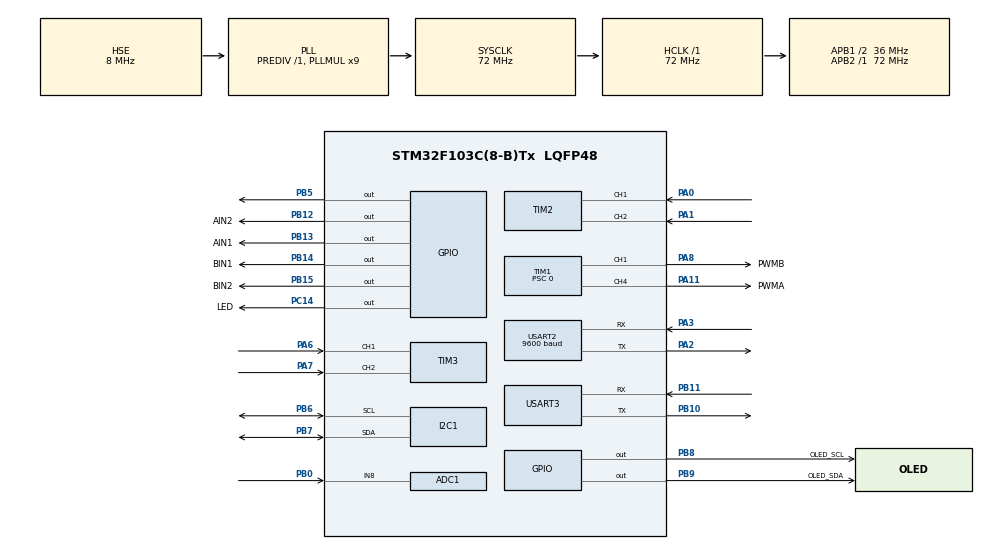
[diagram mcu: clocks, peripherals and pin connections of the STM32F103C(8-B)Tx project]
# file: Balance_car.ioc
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ADC1.Channel-0\#ChannelRegularConversion=ADC_CHANNEL_8
ADC1.NbrOfConversionFlag=1
ADC1.Rank-0\#ChannelRegularConversion=1
ADC1.SamplingTime-0\#ChannelRegularConversion=ADC_SAMPLETIME_1CYCLE_5
ADC1.master=1
I2C1.I2C_Mode=I2C_Fast
Mcu.Family=STM32F1
Mcu.Name=STM32F103C(8-B)Tx
Mcu.Package=LQFP48
NVIC.PriorityGroup=NVIC_PRIORITYGROUP_4
NVIC.TIM2_IRQn=true\:2\:0\:true\:false\:true\:true\:true\:true
NVIC.TIM3_IRQn=true\:2\:0\:true\:false\:true\:true\:true\:true
NVIC.TIM4_IRQn=true\:1\:0\:true\:false\:true\:true\:true\:true
NVIC.USART2_IRQn=true\:0\:0\:false\:false\:true\:true\:true\:true
NVIC.USART3_IRQn=true\:2\:0\:true\:false\:true\:true\:true\:true
PA0-WKUP.GPIO_PuPd=GPIO_PULLUP
PA0-WKUP.Signal=S_TIM2_CH1_ETR
PA1.GPIO_PuPd=GPIO_PULLUP
PA1.Signal=S_TIM2_CH2
PA11.GPIO_Label=PWMA
PA11.Signal=S_TIM1_CH4
PA13.Mode=Serial_Wire
PA13.Signal=SYS_JTMS-SWDIO
PA14.Mode=Serial_Wire
PA14.Signal=SYS_JTCK-SWCLK
PA2.Mode=Asynchronous
PA2.Signal=USART2_TX
PA3.Mode=Asynchronous
PA3.Signal=USART2_RX
PA6.GPIO_PuPd=GPIO_PULLUP
PA6.Signal=S_TIM3_CH1
PA7.GPIO_PuPd=GPIO_PULLUP
PA7.Signal=S_TIM3_CH2
PA8.GPIO_Label=PWMB
PA8.Signal=S_TIM1_CH1
PB0.Signal=ADCx_IN8
PB10.Mode=Asynchronous
PB10.Signal=USART3_TX
PB11.Mode=Asynchronous
PB11.Signal=USART3_RX
PB12.GPIO_Label=AIN2
PB12.GPIO_Speed=GPIO_SPEED_FREQ_MEDIUM
PB12.Signal=GPIO_Output
PB13.GPIO_Label=AIN1
PB13.GPIO_Speed=GPIO_SPEED_FREQ_MEDIUM
PB13.Signal=GPIO_Output
PB14.GPIO_Label=BIN1
PB14.GPIO_Speed=GPIO_SPEED_FREQ_MEDIUM
PB14.Signal=GPIO_Output
PB15.GPIO_Label=BIN2
PB15.GPIO_Speed=GPIO_SPEED_FREQ_MEDIUM
PB15.Signal=GPIO_Output
PB5.GPIO_PuPd=GPIO_PULLDOWN
PB5.Signal=GPIO_Output
PB6.Mode=I2C
PB6.Signal=I2C1_SCL
PB7.Mode=I2C
PB7.Signal=I2C1_SDA
PB8.GPIO_Label=OLED_SCL
PB8.GPIO_Speed=GPIO_SPEED_FREQ_HIGH
PB8.Signal=GPIO_Output
PB9.GPIO_Label=OLED_SDA
PB9.GPIO_Speed=GPIO_SPEED_FREQ_HIGH
PB9.Signal=GPIO_Output
PC14-OSC32_IN.GPIO_Label=LED
PC14-OSC32_IN.GPIO_ModeDefaultOutputPP=GPIO_MODE_OUTPUT_PP
PC14-OSC32_IN.GPIO_PuPd=GPIO_PULLUP
PC14-OSC32_IN.PinState=GPIO_PIN_SET
PC14-OSC32_IN.Signal=GPIO_Output
PD0-OSC_IN.Mode=HSE-External-Oscillator
PD0-OSC_IN.Signal=RCC_OSC_IN
PD1-OSC_OUT.Mode=HSE-External-Oscillator
PD1-OSC_OUT.Signal=RCC_OSC_OUT
ProjectManager.HeapSize=0x200
ProjectManager.StackSize=0x400
ProjectManager.TargetToolchain=MDK-ARM V5.32
RCC.ADCPresc=RCC_ADCPCLK2_DIV6
RCC.AHBFreq_Value=72000000
RCC.APB1CLKDivider=RCC_HCLK_DIV2
RCC.APB1Freq_Value=36000000
RCC.APB1TimFreq_Value=72000000
RCC.APB2Freq_Value=72000000
RCC.APB2TimFreq_Value=72000000
RCC.HCLKFreq_Value=72000000
RCC.PLLMUL=RCC_PLL_MUL9
RCC.PLLSourceVirtual=RCC_PLLSOURCE_HSE
RCC.SYSCLKFreq_VALUE=72000000
RCC.SYSCLKSource=RCC_SYSCLKSOURCE_PLLCLK
RCC.USBFreq_Value=72000000
SH.ADCx_IN8.0=ADC1_IN8,IN8
SH.S_TIM1_CH1.0=TIM1_CH1,PWM Generation1 CH1
SH.S_TIM1_CH4.0=TIM1_CH4,PWM Generation4 CH4
SH.S_TIM2_CH1_ETR.0=TIM2_CH1,Encoder_Interface
SH.S_TIM2_CH2.0=TIM2_CH2,Encoder_Interface
SH.S_TIM3_CH1.0=TIM3_CH1,Encoder_Interface
SH.S_TIM3_CH2.0=TIM3_CH2,Encoder_Interface
TIM1.AutoReloadPreload=TIM_AUTORELOAD_PRELOAD_ENABLE
TIM1.Channel-PWM\ Generation1\ CH1=TIM_CHANNEL_1
TIM1.Channel-PWM\ Generation4\ CH4=TIM_CHANNEL_4
TIM1.Period=7200-1
TIM1.Prescaler=0
TIM2.AutoReloadPreload=TIM_AUTORELOAD_PRELOAD_ENABLE
TIM2.EncoderMode=TIM_ENCODERMODE_TI12
TIM2.IC1Filter=10
TIM2.IC2Filter=10
TIM3.AutoReloadPreload=TIM_AUTORELOAD_PRELOAD_ENABLE
TIM3.EncoderMode=TIM_ENCODERMODE_TI12
TIM3.IC1Filter=10
TIM3.IC2Filter=10
TIM4.AutoReloadPreload=TIM_AUTORELOAD_PRELOAD_ENABLE
TIM4.Period=1000-1
TIM4.Prescaler=72-1
USART2.BaudRate=9600
USART2.VirtualMode=VM_ASYNC
USART3.VirtualMode=VM_ASYNC
VP_TIM1_VS_ClockSourceINT.Mode=Internal
VP_TIM4_VS_ClockSourceINT.Mode=Internal
board=custom

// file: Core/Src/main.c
/* USER CODE BEGIN Header */
/**
  ******************************************************************************
  * @file           : main.c
  * @brief          : Main program body
  ******************************************************************************
  * @attention
  *
  * Copyright (c) 2023 STMicroelectronics.
  * All rights reserved.
  *
  * This software is licensed under terms that can be found in the LICENSE file
  * in the root directory of this software component.
  * If no LICENSE file comes with this software, it is provided AS-IS.
  *
  ******************************************************************************
  */
/* USER CODE END Header */
#include "main.h"
#include "adc.h"
#include "i2c.h"
#include "tim.h"
#include "usart.h"
#include "gpio.h"

/* USER CODE BEGIN Includes */
#include <stdio.h>
#include <string.h>

#include "oled.h"
#include "badc.h"

#include "mpu6050.h"
#include "inv_mpu.h"

#include "motor.h"
#include "control.h"
/* USER CODE END Includes */

/* USER CODE BEGIN PM */
char oled_text[16];
/* USER CODE END PM */

/* USER CODE BEGIN PV */
double volt=0.0f;

float pitch,roll,yaw; 								  			 //欧拉角(姿态角)
short aacx,aacy,aacz;													 //加速度传感器原始数据
short gyrox,gyroy,gyroz;											 //陀螺仪原始数据

uint8_t usart3_pData;
uint8_t usart2_pData;
unsigned char buletooth_data[20];

int remote_data=0;

/* USER CODE END PV */

void SystemClock_Config(void);
/* USER CODE BEGIN PFP */
//定义 串口调试
float tempFloat[3];                    //定义的临时变量
uint8_t tempData[16];                    //定义的传输Buffer
/* USER CODE END PFP */

/* USER CODE BEGIN 0 */
int fputc(int ch, FILE *f)
{ //printf重定向
  HAL_UART_Transmit(&huart3, (uint8_t *)&ch, 1, 0xFFFF);
  return (ch);
}

void oled_show(){
	sprintf(oled_text,"   Balance_car"   );
	OLED_ShowString(0,0,(unsigned char *)oled_text,12);

	//OLED_ShowString(0,0,(unsigned char *)"ANGLE:",12);
	OLED_ShowString(0,1,(unsigned char *)"BAT :",12);
	OLED_ShowString(90,1,(unsigned char *)"V",12);
	//OLED_ShowString(0,2,(unsigned char *)"Distance:",12);
	OLED_ShowString(60,2,(unsigned char *)"R: ",12);
	OLED_ShowString(1,2,(unsigned char *)"L: ",12);

	OLED_ShowString(0,4,(unsigned char *)"YAW:",12);
	OLED_ShowString(0,5,(unsigned char *)"PTICH:",12);

	OLED_ShowString(0,6,(unsigned char *)"remote: ",12);
}

void oled_proc(){
	OLED_Float(1,48,volt,1);						//显示电压

	OLED_ShowNum(80,2,Encoder_Right,3,12);					//显示右边电机的编码器值
	OLED_ShowNum(20,2,Encoder_Left,3,12);					//显示左边电机的编码器值

	OLED_Float(4,56,yaw,1);	//显示yaw

	OLED_Float(5,56,pitch,1);	//显示pitch

	OLED_ShowNum(60,6,remote_data,3,12);					//显示左边电机的编码器值

}
void vofa_send(){
	tempFloat[0] = (float)yaw;    //转成浮点数
	tempFloat[1] = (float)pitch;
	tempFloat[2] = (float)roll;
	memcpy(tempData, (uint8_t *)tempFloat, sizeof(tempFloat));//通过拷贝把数据重新整理
	tempData[12] = 0x00;                    //写如结尾数据
	tempData[13] = 0x00;
	tempData[14] = 0x80;
	tempData[15] = 0x7f;

	HAL_UART_Transmit_IT(&huart3, (uint8_t *)tempData, 16);    //通过串口传输16个数据
}
/* USER CODE END 0 */

int main(void)
{

  /* MCU Configuration--------------------------------------------------------*/

  /* Reset of all peripherals, Initializes the Flash interface and the Systick. */
  HAL_Init();

  /* Configure the system clock */
  SystemClock_Config();

  /* Initialize all configured peripherals */
  MX_GPIO_Init();
  MX_I2C1_Init();
  MX_ADC1_Init();
  MX_USART3_UART_Init();
  MX_TIM2_Init();
  MX_TIM3_Init();
  MX_TIM1_Init();
  MX_TIM4_Init();
  MX_USART2_UART_Init();
  /* USER CODE BEGIN 2 */
	//初始化串口
	HAL_UART_Receive_IT(&huart2, &usart2_pData, 1);
	HAL_UART_Receive_IT(&huart3, &usart3_pData, 1);
	//初始化oled
	SSD1315_Init();
	HAL_Delay(100);
	OLED_Clear();
	oled_show();
	//初始化mpu
	printf("mpu6050 init\r\n");
	uint8_t recv = 0x00;
  HAL_I2C_Mem_Read(&hi2c1, (0x68 << 1), 0x75, I2C_MEMADD_SIZE_8BIT, &recv, 1, 0xfff);
  if (recv == 0x68)
    printf("mpu6050 ID Read: OK at 0x68\r\n");
  else
    printf("Err mpu id:0x%x\r\n", recv);
	while (mpu_dmp_init())
    HAL_Delay(200);
	//初始化编码器
	Encoder_Start();
	//初始化电机
	Motor_Start();
	//初始化定时器
	HAL_TIM_Base_Start_IT(&htim4);
	//初始化控制器

  /* USER CODE END 2 */

  /* Infinite loop */
  /* USER CODE BEGIN WHILE */
  while (1)
  {
		//volt=get_volt();
//			if (mpu_dmp_get_data(&pitch, &roll, &yaw) == 0) //DMP读取欧拉角
//				printf("%f,%f,%f\r\n", pitch, roll, yaw);   //串口打印欧拉角
    /* USER CODE END WHILE */

    /* USER CODE BEGIN 3 */
		volt=get_volt();
  }
  /* USER CODE END 3 */
}

void SystemClock_Config(void)
{
  RCC_OscInitTypeDef RCC_OscInitStruct = {0};
  RCC_ClkInitTypeDef RCC_ClkInitStruct = {0};
  RCC_PeriphCLKInitTypeDef PeriphClkInit = {0};

  /** Initializes the RCC Oscillators according to the specified parameters
  * in the RCC_OscInitTypeDef structure.
  */
  RCC_OscInitStruct.OscillatorType = RCC_OSCILLATORTYPE_HSE;
  RCC_OscInitStruct.HSEState = RCC_HSE_ON;
  RCC_OscInitStruct.HSEPredivValue = RCC_HSE_PREDIV_DIV1;
  RCC_OscInitStruct.HSIState = RCC_HSI_ON;
  RCC_OscInitStruct.PLL.PLLState = RCC_PLL_ON;
  RCC_OscInitStruct.PLL.PLLSource = RCC_PLLSOURCE_HSE;
  RCC_OscInitStruct.PLL.PLLMUL = RCC_PLL_MUL9;
  if (HAL_RCC_OscConfig(&RCC_OscInitStruct) != HAL_OK)
  {
    Error_Handler();
  }

  /** Initializes the CPU, AHB and APB buses clocks
  */
  RCC_ClkInitStruct.ClockType = RCC_CLOCKTYPE_HCLK|RCC_CLOCKTYPE_SYSCLK
                              |RCC_CLOCKTYPE_PCLK1|RCC_CLOCKTYPE_PCLK2;
  RCC_ClkInitStruct.SYSCLKSource = RCC_SYSCLKSOURCE_PLLCLK;
  RCC_ClkInitStruct.AHBCLKDivider = RCC_SYSCLK_DIV1;
  RCC_ClkInitStruct.APB1CLKDivider = RCC_HCLK_DIV2;
  RCC_ClkInitStruct.APB2CLKDivider = RCC_HCLK_DIV1;

  if (HAL_RCC_ClockConfig(&RCC_ClkInitStruct, FLASH_LATENCY_2) != HAL_OK)
  {
    Error_Handler();
  }
  PeriphClkInit.PeriphClockSelection = RCC_PERIPHCLK_ADC;
  PeriphClkInit.AdcClockSelection = RCC_ADCPCLK2_DIV6;
  if (HAL_RCCEx_PeriphCLKConfig(&PeriphClkInit) != HAL_OK)
  {
    Error_Handler();
  }
}

/* USER CODE BEGIN 4 */
//定时器中断回调函数
int main_time=0;
void HAL_TIM_PeriodElapsedCallback(TIM_HandleTypeDef *htim){
	if(htim->Instance==TIM4)
	{
		MPU_Get_Gyroscope(&gyrox,&gyroy,&gyroz);								 //===得到陀螺仪数据
		mpu_dmp_get_data(&pitch, &roll, &yaw);
		control_proc();
		oled_proc();

		//vofa_send();
	}
}

void HAL_UART_RxCpltCallback(UART_HandleTypeDef *huart){
	if(huart->Instance==USART2)
	{
		remote_data=usart2_pData;
		HAL_UART_Receive_IT(&huart2, &usart2_pData, 1);
	}
}
/* USER CODE END 4 */

void Error_Handler(void)
{
  __disable_irq();
  while (1)
  {
  }
}
